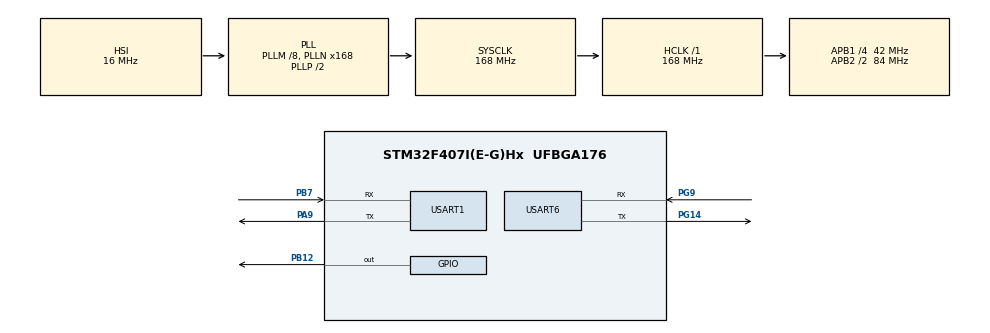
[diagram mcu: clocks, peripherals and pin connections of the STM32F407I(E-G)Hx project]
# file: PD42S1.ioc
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Dma.Request0=USART1_RX
Dma.Request1=USART1_TX
Dma.Request2=USART6_RX
Dma.Request3=USART6_TX
Dma.USART1_RX.0.Direction=DMA_PERIPH_TO_MEMORY
Dma.USART1_RX.0.FIFOMode=DMA_FIFOMODE_DISABLE
Dma.USART1_RX.0.Instance=DMA2_Stream2
Dma.USART1_RX.0.MemDataAlignment=DMA_MDATAALIGN_BYTE
Dma.USART1_RX.0.MemInc=DMA_MINC_ENABLE
Dma.USART1_RX.0.Mode=DMA_NORMAL
Dma.USART1_RX.0.PeriphDataAlignment=DMA_PDATAALIGN_BYTE
Dma.USART1_RX.0.PeriphInc=DMA_PINC_DISABLE
Dma.USART1_RX.0.Priority=DMA_PRIORITY_LOW
Dma.USART1_TX.1.Direction=DMA_MEMORY_TO_PERIPH
Dma.USART1_TX.1.FIFOMode=DMA_FIFOMODE_DISABLE
Dma.USART1_TX.1.Instance=DMA2_Stream7
Dma.USART1_TX.1.MemDataAlignment=DMA_MDATAALIGN_BYTE
Dma.USART1_TX.1.MemInc=DMA_MINC_ENABLE
Dma.USART1_TX.1.Mode=DMA_NORMAL
Dma.USART1_TX.1.PeriphDataAlignment=DMA_PDATAALIGN_BYTE
Dma.USART1_TX.1.PeriphInc=DMA_PINC_DISABLE
Dma.USART1_TX.1.Priority=DMA_PRIORITY_LOW
Dma.USART6_RX.2.Direction=DMA_PERIPH_TO_MEMORY
Dma.USART6_RX.2.FIFOMode=DMA_FIFOMODE_DISABLE
Dma.USART6_RX.2.Instance=DMA2_Stream1
Dma.USART6_RX.2.MemDataAlignment=DMA_MDATAALIGN_BYTE
Dma.USART6_RX.2.MemInc=DMA_MINC_ENABLE
Dma.USART6_RX.2.Mode=DMA_NORMAL
Dma.USART6_RX.2.PeriphDataAlignment=DMA_PDATAALIGN_BYTE
Dma.USART6_RX.2.PeriphInc=DMA_PINC_DISABLE
Dma.USART6_RX.2.Priority=DMA_PRIORITY_LOW
Dma.USART6_TX.3.Direction=DMA_MEMORY_TO_PERIPH
Dma.USART6_TX.3.FIFOMode=DMA_FIFOMODE_DISABLE
Dma.USART6_TX.3.Instance=DMA2_Stream6
Dma.USART6_TX.3.MemDataAlignment=DMA_MDATAALIGN_BYTE
Dma.USART6_TX.3.MemInc=DMA_MINC_ENABLE
Dma.USART6_TX.3.Mode=DMA_NORMAL
Dma.USART6_TX.3.PeriphDataAlignment=DMA_PDATAALIGN_BYTE
Dma.USART6_TX.3.PeriphInc=DMA_PINC_DISABLE
Dma.USART6_TX.3.Priority=DMA_PRIORITY_LOW
Mcu.Family=STM32F4
Mcu.Name=STM32F407I(E-G)Hx
Mcu.Package=UFBGA176
NVIC.DMA2_Stream1_IRQn=true\:5\:0\:true\:false\:true\:false\:true\:true
NVIC.DMA2_Stream2_IRQn=true\:6\:0\:true\:false\:true\:false\:true\:true
NVIC.DMA2_Stream6_IRQn=true\:5\:0\:true\:false\:true\:false\:true\:true
NVIC.DMA2_Stream7_IRQn=true\:6\:0\:true\:false\:true\:false\:true\:true
NVIC.PriorityGroup=NVIC_PRIORITYGROUP_4
NVIC.USART1_IRQn=true\:6\:0\:true\:false\:true\:true\:true\:true
NVIC.USART6_IRQn=true\:5\:0\:true\:false\:true\:true\:true\:true
PA13.Mode=Serial_Wire
PA13.Signal=SYS_JTMS-SWDIO
PA14.Mode=Serial_Wire
PA14.Signal=SYS_JTCK-SWCLK
PA9.Mode=Asynchronous
PA9.Signal=USART1_TX
PB12.GPIO_ModeDefaultOutputPP=GPIO_MODE_OUTPUT_PP
PB12.GPIO_PuPd=GPIO_PULLUP
PB12.Signal=GPIO_Output
PB7.Mode=Asynchronous
PB7.Signal=USART1_RX
PG14.Mode=Asynchronous
PG14.Signal=USART6_TX
PG9.Mode=Asynchronous
PG9.Signal=USART6_RX
PH0-OSC_IN.Mode=HSE-External-Oscillator
PH0-OSC_IN.Signal=RCC_OSC_IN
PH1-OSC_OUT.Mode=HSE-External-Oscillator
PH1-OSC_OUT.Signal=RCC_OSC_OUT
ProjectManager.HeapSize=0x200
ProjectManager.StackSize=0x400
ProjectManager.TargetToolchain=CMake
RCC.48MHZClocksFreq_Value=84000000
RCC.AHBFreq_Value=168000000
RCC.APB1CLKDivider=RCC_HCLK_DIV4
RCC.APB1Freq_Value=42000000
RCC.APB1TimFreq_Value=84000000
RCC.APB2CLKDivider=RCC_HCLK_DIV2
RCC.APB2Freq_Value=84000000
RCC.APB2TimFreq_Value=168000000
RCC.CortexFreq_Value=168000000
RCC.HCLKFreq_Value=168000000
RCC.HSE_VALUE=12000000
RCC.HSI_VALUE=16000000
RCC.LSE_VALUE=32768
RCC.PLLM=8
RCC.PLLN=168
RCC.SYSCLKFreq_VALUE=168000000
RCC.SYSCLKSource=RCC_SYSCLKSOURCE_PLLCLK
RCC.VCOOutputFreq_Value=336000000
USART1.VirtualMode=VM_ASYNC
USART6.VirtualMode=VM_ASYNC
board=custom

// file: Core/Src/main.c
/* USER CODE BEGIN Header */
/**
  ******************************************************************************
  * @file           : main.c
  * @brief          : Main program body
  ******************************************************************************
  * @attention
  *
  * Copyright (c) 2026 STMicroelectronics.
  * All rights reserved.
  *
  * This software is licensed under terms that can be found in the LICENSE file
  * in the root directory of this software component.
  * If no LICENSE file comes with this software, it is provided AS-IS.
  *
  ******************************************************************************
  */
/* USER CODE END Header */
#include "main.h"
#include "dma.h"
#include "usart.h"
#include "gpio.h"

/* USER CODE BEGIN Includes */
#include "PD42S1.h"
/* USER CODE END Includes */

/* USER CODE BEGIN PV */

extern uint8_t Rotation_Dir;
extern uint8_t Acceleration;
extern uint16_t Speed;
extern uint32_t Absolute_Position;

extern uint8_t Command_Result_Motor_0;
extern uint8_t Command_Result_Motor_1;
extern uint8_t Command_Result_Motor_2;
extern uint8_t Command_Result_Motor_3;

extern uint8_t PD42_Motor_Rx_Buffer[20];
extern uint8_t PD42_0x01_Rx_Data[20];
extern uint8_t PD42_0x02_Rx_Data[20];
extern uint8_t PD42_0x03_Rx_Data[20];
extern uint8_t PD42_0x04_Rx_Data[20];

/* USER CODE END PV */

void SystemClock_Config(void);

int main(void)
{

  /* MCU Configuration--------------------------------------------------------*/

  /* Reset of all peripherals, Initializes the Flash interface and the Systick. */
  HAL_Init();

  /* Configure the system clock */
  SystemClock_Config();

  /* Initialize all configured peripherals */
  MX_GPIO_Init();
  MX_DMA_Init();
  MX_USART1_UART_Init();
  MX_USART6_UART_Init();
  /* USER CODE BEGIN 2 */

  RS485_Init(&huart6, PD42S1_Call_Back);
  HAL_Delay(100);
  Motor_Enable(&huart6, 1, 0x0);
  HAL_Delay(100);
  Reset_Current_Position(&huart6, 0x01);
  HAL_Delay(100);

  /* USER CODE END 2 */

  /* Infinite loop */
  /* USER CODE BEGIN WHILE */
  while (1)
  {
    PD42S1_Absolute_Position_Mode(&huart6, 0x01, 0, 50, 50.0, 3.14/2.0);
    HAL_Delay(1000);
    PD42S1_Absolute_Position_Mode(&huart6, 0x01, 0, 50, 50.0, 3.14);
    HAL_Delay(1000);
    PD42S1_Absolute_Position_Mode(&huart6, 0x01, 1, 50, 50.0, 0.0);
    HAL_Delay(1000);
    /* USER CODE END WHILE */

  }
}

void SystemClock_Config(void)
{
  RCC_OscInitTypeDef RCC_OscInitStruct = {0};
  RCC_ClkInitTypeDef RCC_ClkInitStruct = {0};

  /** Configure the main internal regulator output voltage
  */
  __HAL_RCC_PWR_CLK_ENABLE();
  __HAL_PWR_VOLTAGESCALING_CONFIG(PWR_REGULATOR_VOLTAGE_SCALE1);

  /** Initializes the RCC Oscillators according to the specified parameters
  * in the RCC_OscInitTypeDef structure.
  */
  RCC_OscInitStruct.OscillatorType = RCC_OSCILLATORTYPE_HSI;
  RCC_OscInitStruct.HSIState = RCC_HSI_ON;
  RCC_OscInitStruct.HSICalibrationValue = RCC_HSICALIBRATION_DEFAULT;
  RCC_OscInitStruct.PLL.PLLState = RCC_PLL_ON;
  RCC_OscInitStruct.PLL.PLLSource = RCC_PLLSOURCE_HSI;
  RCC_OscInitStruct.PLL.PLLM = 8;
  RCC_OscInitStruct.PLL.PLLN = 168;
  RCC_OscInitStruct.PLL.PLLP = RCC_PLLP_DIV2;
  RCC_OscInitStruct.PLL.PLLQ = 4;
  if (HAL_RCC_OscConfig(&RCC_OscInitStruct) != HAL_OK)
  {
    Error_Handler();
  }

  /** Initializes the CPU, AHB and APB buses clocks
  */
  RCC_ClkInitStruct.ClockType = RCC_CLOCKTYPE_HCLK|RCC_CLOCKTYPE_SYSCLK
                              |RCC_CLOCKTYPE_PCLK1|RCC_CLOCKTYPE_PCLK2;
  RCC_ClkInitStruct.SYSCLKSource = RCC_SYSCLKSOURCE_PLLCLK;
  RCC_ClkInitStruct.AHBCLKDivider = RCC_SYSCLK_DIV1;
  RCC_ClkInitStruct.APB1CLKDivider = RCC_HCLK_DIV4;
  RCC_ClkInitStruct.APB2CLKDivider = RCC_HCLK_DIV2;

  if (HAL_RCC_ClockConfig(&RCC_ClkInitStruct, FLASH_LATENCY_5) != HAL_OK)
  {
    Error_Handler();
  }
}

void Error_Handler(void)
{
  __disable_irq();
  while (1)
  {
  }
}
